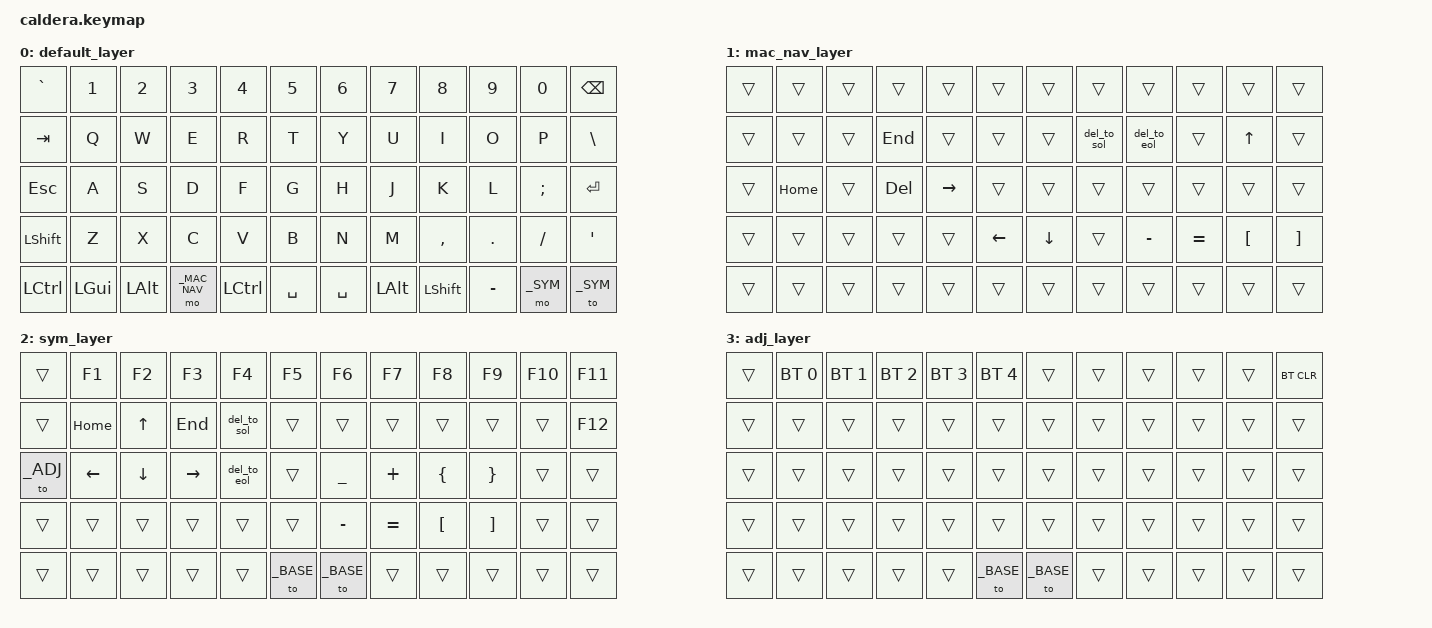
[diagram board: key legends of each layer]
#include <behaviors.dtsi>
#include <dt-bindings/zmk/keys.h>
#include <dt-bindings/zmk/bt.h>

#define _BASE 0
#define _MAC_NAV 1
#define _SYM 2
#define _ADJ 3

/ {
    macros {
        del_to_sol: delete_to_start_of_line {
            compatible = "zmk,behavior-macro";
            label = "DEL_TO_SOL_WIN";
            #binding-cells = <0>;
            // 动作: Shift+Home, 然后 Backspace (删除到行首)
            bindings = <&kp LS(HOME) &kp BSPC>;
        };

        del_to_eol: delete_to_end_of_line {
            compatible = "zmk,behavior-macro";
            label = "DEL_TO_EOL_WIN";
            #binding-cells = <0>;
            // 动作: Shift+End, 然后 Backspace (删除到行尾)
            bindings = <&kp LS(END) &kp BSPC>;
        };
    };

    keymap {
        compatible = "zmk,keymap";

        // ================================================================================================
        // | LAYER 0: _BASE (QWERTY基础层)                                                                  |
        // ================================================================================================
        default_layer {
            /*
             * .------------------------------------------------.  .------------------------------------------------.
             * |   `  |   1  |   2  |   3  |   4  |   5  |        |   6  |   7  |   8  |   9  |   0  | BSPC |
             * |------+------+------+------+------+------|        |------+------+------+------+------+------|
             * |  TAB |   Q  |   W  |   E  |   R  |   T  |        |   Y  |   U  |   I  |   O  |   P  |  \   |
             * |------+------+------+------+------+------|        |------+------+------+------+------+------|
             * |  ESC |   A  |   S  |   D  |   F  |   G  |        |   H  |   J  |   K  |   L  |  ;   | ENTER|
             * |------+------+------+------+------+------|        |------+------+------+------+------+------|
             * | LSHFT|   Z  |   X  |   C  |   V  |   B  |        |   N  |   M  |  ,   |  .   |  /   |  '   |
             * |------+------+------+------+------+------|        +----+------+------+------+------+------+-|
             * | LCTRL| LGUI | LALT |MACNAV| LCTRL|SPACE|         | SPACE| LALT  |LSHFT|  -  | _SYM |TO_SYM|
             * '------------------------------------------'       '-----------------------------------------'
             */
            bindings = <
                &kp GRAVE   &kp N1      &kp N2      &kp N3        &kp N4      &kp N5             &kp N6      &kp N7      &kp N8      &kp N9      &kp N0      &kp BSPC
                &kp TAB     &kp Q       &kp W       &kp E         &kp R       &kp T              &kp Y       &kp U       &kp I       &kp O       &kp P       &kp BSLH
                &kp ESC     &kp A       &kp S       &kp D         &kp F       &kp G              &kp H       &kp J       &kp K       &kp L       &kp SEMI    &kp RET
                &kp LSHFT   &kp Z       &kp X       &kp C         &kp V       &kp B              &kp N       &kp M       &kp COMMA   &kp DOT     &kp FSLH    &kp APOS
                &kp LCTRL   &kp LGUI    &kp LALT    &mo _MAC_NAV  &kp LCTRL   &kp SPACE          &kp SPACE   &kp LALT    &kp LSHFT   &kp MINUS   &mo _SYM    &to _SYM
            >;   
        };

        // ================================================================================================
        // | LAYER 1: _MAC_NAV (导航层，包含自定义删除宏)                                                   |
        // ================================================================================================
        mac_nav_layer {
            /*
             * .------------------------------------------------.                             .------------------------------------------------.
             * |      |      |      |      |      |      |                                   |      |      |      |      |      |      |
             * |------+------+------+------+------+------|                                   |------+------+------+------+------+------|
             * |      |      |      | END  |      |      |                                   |      |DEL_SOL|DEL_EOL|      |  UP  |    |
             * |------+------+------+------+------+------|                                   |------+------+------+------+------+------|
             * |      | HOME | DEL  |RIGHT |      |      |                                   |      |      |      |      |      |      |
             * |------+------+------+------+------+------|                                   |------+------+------+------+------+------|
             * |      |      |      |      |      | LEFT |                                   | DOWN |      |   -  |   =  |   [  |   ]  |
             * |------+------+------+------+------+------|                                   .----'------+------+------+------+------+------|
             * |      |      |      |      |      |      |                                   |      |      |      |      |      |      |
             * '------------------------------------------------'                             '------------------------------------------------'
             */
            bindings = <
                &trans      &trans      &trans      &trans      &trans      &trans          &trans      &trans      &trans      &trans      &trans      &trans
                &trans      &trans      &trans      &kp END     &trans      &trans          &trans      &del_to_sol &del_to_eol &trans      &kp UP      &trans
                &trans      &kp HOME    &trans      &kp DEL     &kp RIGHT   &trans          &trans      &trans      &trans      &trans      &trans      &trans
                &trans      &trans      &trans      &trans      &trans      &kp LEFT        &kp DOWN    &trans      &kp MINUS   &kp EQUAL   &kp LBKT    &kp RBKT
                &trans      &trans      &trans      &trans      &trans      &trans          &trans      &trans      &trans      &trans      &trans      &trans
            >;
        };

        // ================================================================================================
        // | LAYER 2: _SYM (符号与功能键层)                                                                 |
        // ================================================================================================
        sym_layer {
            /*
             * .------------------------------------------------.                            .------------------------------------------------.
             * |      |  F1  |  F2  |  F3  |  F4  |  F5  |                                  |  F6  |  F7  |  F8  |  F9  |  F10 |  F11 |
             * |------+------+------+------+------+------|                                  |------+------+------+------+------+------|
             * |      | HOME |  UP  | END  | del_to_sol  |      |                           |      |      |      |      |      |  F12 |
             * |------+------+------+------+------+------|                                  |------+------+------+------+------+------|
             * |TO_ADJ| LEFT | DOWN |RIGHT | del_to_eol     |      |                        |   _  |   +  |   {  |   }  |      |      |
             * |------+------+------+------+------+------|                                  |------+------+------+------+------+------|
             * |      |      |      |      |      |      |                                  |   -  |   =  |   [  |   ]  |      |      |
             * |------+------+------+------+------+------|                                  .----'------+------+------+------+------+------|
             * |      |      |      |      |      |TO_BASE|                                 | TO_BASE     |      |      |      |     |  |
             * '------------------------------------------------'                            '------------------------------------------------'
             */
            bindings = <
                &trans      &kp F1      &kp F2      &kp F3      &kp F4       &kp F5          &kp F6      &kp F7      &kp F8      &kp F9      &kp F10     &kp F11
                &trans      &kp HOME    &kp UP      &kp END     &del_to_sol  &trans          &trans      &trans      &trans    &trans    &trans      &kp F12
                &to _ADJ    &kp LEFT    &kp DOWN    &kp RIGHT   &del_to_eol  &trans          &kp UNDER   &kp PLUS    &kp LBRC    &kp RBRC      &trans        &trans
                &trans      &trans      &trans      &trans      &trans       &trans          &kp MINUS   &kp EQUAL   &kp LBKT    &kp RBKT      &trans           &trans
                &trans      &trans      &trans      &trans      &trans       &to _BASE       &to _BASE   &trans      &trans      &trans      &trans      &trans
            >;
        };
        
        // ================================================================================================
        // | LAYER 3: _ADJ (蓝牙与调节层)                                                                   |
        // ================================================================================================
        adj_layer {
            /*
             * .------------------------------------------------.                             .------------------------------------------------.
             * |      | BT 0 | BT 1 | BT 2 | BT 3 | BT 4 |                                   |      |      |      |      |      |BT CLR|
             * |------+------+------+------+------+------|                                   |------+------+------+------+------+------|
             * |      |      |      |      |      |      |                                   |      |      |      |      |      |      |
             * |------+------+------+------+------+------|                                   |------+------+------+------+------+------|
             * |      |      |      |      |      |      |                                   |      |      |      |      |      |      |
             * |------+------+------+------+------+------|                                   |------+------+------+------+------+------|
             * |      |      |      |      |      |      |                                   |      |      |      |      |      |      |
             * |------+------+------+------+------+------|                                   .----'------+------+------+------+------+------|
             * |      |      |      |      |      |TO_BASE|                                  |TO_BASE |      |      |      |      |      |
             * '------------------------------------------------'                             '------------------------------------------------'
             */
            bindings = <
                &trans      &bt BT_SEL 0  &bt BT_SEL 1  &bt BT_SEL 2  &bt BT_SEL 3  &bt BT_SEL 4    &trans      &trans      &trans      &trans      &trans      &bt BT_CLR
                &trans      &trans      &trans      &trans      &trans      &trans          &trans      &trans      &trans      &trans      &trans      &trans
                &trans      &trans      &trans      &trans      &trans      &trans          &trans      &trans      &trans      &trans      &trans      &trans
                &trans      &trans      &trans      &trans      &trans      &trans          &trans      &trans      &trans      &trans      &trans      &trans
                &trans      &trans      &trans      &trans      &trans      &to _BASE       &to _BASE      &trans      &trans      &trans      &trans      &trans
            >;
        };
    };
};
